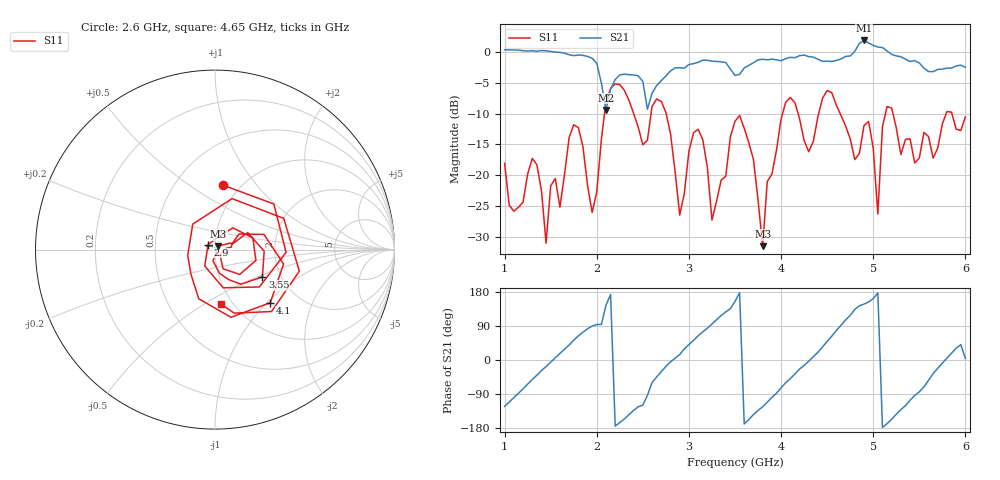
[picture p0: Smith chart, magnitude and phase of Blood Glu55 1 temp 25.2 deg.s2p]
! NanoVNA-App
! Date: 2024-03-21 12:04:35
! Start: 1GHz Stop: 6GHz Points: 101
! S-Parameter data: F S11 S21 S12 S22
# Hz S RI R 50
!	Frequency	S11_Real	S11_Imag	S21_Real	S21_Imag	S12_Real	S12_Imag	S22_Real	S22_Imag
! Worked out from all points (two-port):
!   101 points, 1 GHz to 6 GHz, reference 50 ohm
!   highest |S21| = 1.82 dB at 4.9 GHz (marker M1); lowest = -9.4 dB at 2.1 GHz (marker M2)
!   |S21| within 3 dB of the highest: start of sweep to 1.957 GHz; 4.649 GHz to 5.347 GHz (697.9 MHz wide, 14 % of centre)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
!   lowest |S11| = -31.4 dB at 3.8 GHz (marker M3), VSWR 1.06, Z = 51.9 + j1.97 ohm
!   |S11| at or under -10 dB: start of sweep to 2.084 GHz; 2.753 GHz to 4.016 GHz (1.264 GHz wide, 37.3 % of centre); 5.214 GHz to 5.792 GHz (577.9 MHz wide, 10.5 % of centre)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
!   S12 and S22 are empty: the file has one direction only
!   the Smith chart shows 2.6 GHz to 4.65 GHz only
!   S11 on the Smith chart (normalised r, x): 2.6 GHz: 0.84, +0.69; 2.9 GHz: 0.92, +0.05; 3.55 GHz: 1.61, -0.54; 4.1 GHz: 1.44, -1.05; 4.65 GHz: 0.88, -0.59
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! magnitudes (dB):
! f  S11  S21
! 1 GHz  -18.0  0.3
! 1.35 GHz  -18.3  0.1
! 1.45 GHz  -30.9  0.1
! 1.85 GHz  -15.3  -0.6
! 1.95 GHz  -26.0  -1.1
! 2.1 GHz  -8.1  -9.4
! 2.6 GHz  -8.8  -6.7
! 2.7 GHz  -8.0  -4.7
! 2.9 GHz  -26.4  -2.6
! 3.1 GHz  -12.5  -1.7
! 3.25 GHz  -27.2  -1.5
! 3.5 GHz  -11.2  -3.8
! 3.55 GHz  -10.3  -3.7
! 3.8 GHz  -31.4  -1.2
! 4.1 GHz  -7.4  -0.9
! 4.35 GHz  -14.5  -0.9
! 4.65 GHz  -10.3  -1.2
! 4.9 GHz  -11.9  1.8
! 5.05 GHz  -26.2  0.8
! 5.2 GHz  -9.1  -0.4
! 5.45 GHz  -18.0  -1.4
! 6 GHz  -10.5  -2.5
